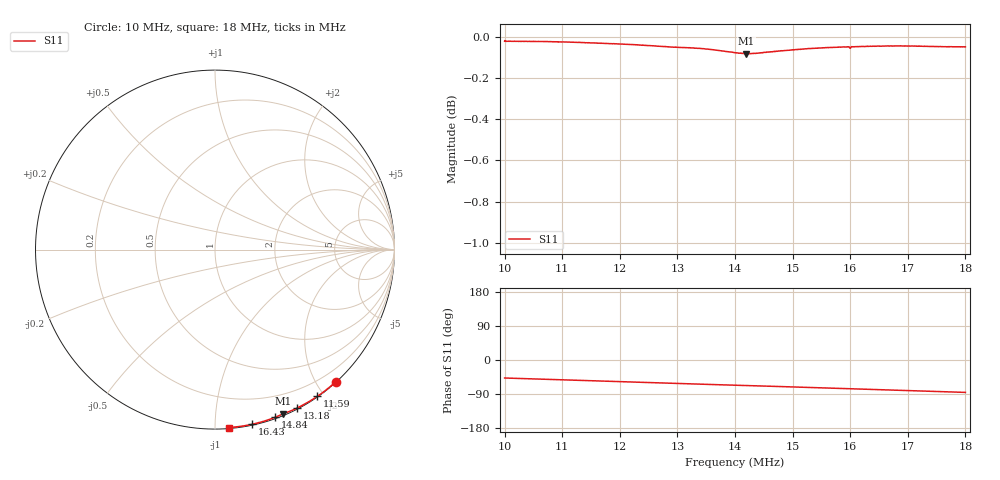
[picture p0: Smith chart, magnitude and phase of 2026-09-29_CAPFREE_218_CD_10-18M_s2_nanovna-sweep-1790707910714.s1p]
! NanoVNA Web complex sweep
! Processing: unaveraged complex samples; linear segment spacing; no smoothing
# Hz S RI R 50
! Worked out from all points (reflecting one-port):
!   1010 points, 10 MHz to 18 MHz, reference 50 ohm
!   lowest |S11| = -0.1 dB at 14.19 MHz (marker M1), VSWR 214.11, Z = 0.759 - j75 ohm
!   phase of S11 starts at -48 deg and turns -38 deg over the sweep
!   S11 on the Smith chart (normalised r, x): 10 MHz: 0.01, -2.27; 11.59 MHz: 0.01, -1.92; 13.18 MHz: 0.01, -1.64; 14.84 MHz: 0.01, -1.42; 16.43 MHz: 0.01, -1.24; 18 MHz: 0.01, -1.08
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1e7  0.6739 -0.7357
1.003964e7  0.6715 -0.7378
1.039645e7  0.6492 -0.7573
1.069775e7  0.63 -0.7734
1.100698e7  0.6096 -0.7892
1.12845e7  0.591 -0.8029
1.159373e7  0.5699 -0.8175
1.200604e7  0.5412 -0.8362
1.252142e7  0.5041 -0.8581
1.300509e7  0.4686 -0.8768
1.317953e7  0.4558 -0.8833
1.359977e7  0.4243 -0.8977
1.400414e7  0.3943 -0.9095
1.419444e7  0.3808 -0.9146
1.449574e7  0.3597 -0.9238
1.484462e7  0.334 -0.9346
1.50032e7  0.3219 -0.9392
1.528864e7  0.2998 -0.9473
1.556616e7  0.278 -0.9544
1.585953e7  0.2545 -0.9612
1.600225e7  0.2436 -0.9634
1.616083e7  0.2302 -0.9677
1.643042e7  0.2083 -0.9728
1.668415e7  0.1875 -0.9771
1.700131e7  0.1612 -0.9819
1.746119e7  0.1229 -0.9871
1.796072e7  0.0812 -0.9912
1.800036e7  0.078 -0.9914
